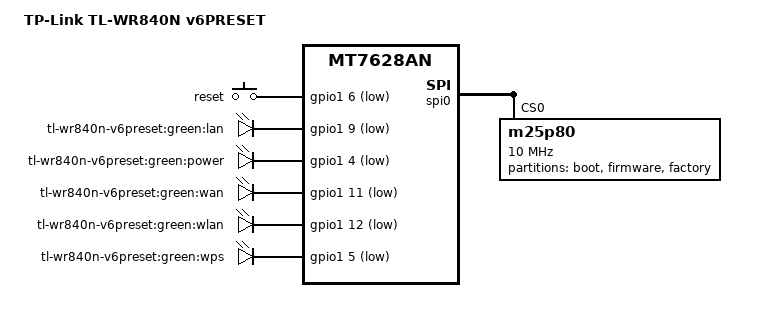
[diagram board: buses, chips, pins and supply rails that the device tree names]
/dts-v1/;

#include "TPLINK-4M.dtsi"

#include <dt-bindings/gpio/gpio.h>
#include <dt-bindings/input/input.h>

/ {
	compatible = "tplink,tl-wr840n-v6preset", "mediatek,mt7628an-soc";
	model = "TP-Link TL-WR840N v6PRESET";

	aliases {
		led-boot = &led_power;
		led-failsafe = &led_power;
		led-running = &led_power;
		led-upgrade = &led_power;
	};

	keys {
		compatible = "gpio-keys-polled";
		poll-interval = <20>;

		reset {
			label = "reset";
			gpios = <&gpio1 6 GPIO_ACTIVE_LOW>;
			linux,code = <KEY_RESTART>;
		};
	};
	gpio-leds {
		compatible = "gpio-leds";

		lan {
			label = "tl-wr840n-v6preset:green:lan";
			gpios = <&gpio1 9 GPIO_ACTIVE_LOW>;
		};

		led_power: power {
			label = "tl-wr840n-v6preset:green:power";
			gpios = <&gpio1 4 GPIO_ACTIVE_LOW>;
		};

		wan {
			label = "tl-wr840n-v6preset:green:wan";
			gpios = <&gpio1 11 GPIO_ACTIVE_LOW>;
		};

		wlan {
			label = "tl-wr840n-v6preset:green:wlan";
			gpios = <&gpio1 12 GPIO_ACTIVE_LOW>;
		};

		wps {
			label = "tl-wr840n-v6preset:green:wps";
			gpios = <&gpio1 5 GPIO_ACTIVE_LOW>;
		};
	};
};

&spi0 {
	status = "okay";

	m25p80@0 {
		#compatible = "jedec,spi-nor";
		reg = <0>;
		spi-max-frequency = <10000000>;

		partitions {
			compatible = "fixed-partitions";
			#address-cells = <1>;
			#size-cells = <1>;

			partition@0 {
				label = "boot";
				reg = <0x0 0x10000>;
				read-only;
			};

			partition@10000 {
				compatible = "tplink,firmware";
				label = "firmware";
				reg = <0x10000 0x3e0000>;
			};

			factory: partition@3f0000 {
				label = "factory";
				reg = <0x3f0000 0x10000>;
				read-only;
			};
		};
	};
};

&esw {
	mediatek,portmap = <0x3e>;
};

&pinctrl {
	state_default: pinctrl0 {
		gpio {
			ralink,group = "p0led_an", "p2led_an", "perst", "refclk", "wdt", "wled_an";
			ralink,function = "gpio";
		};
	};
};
